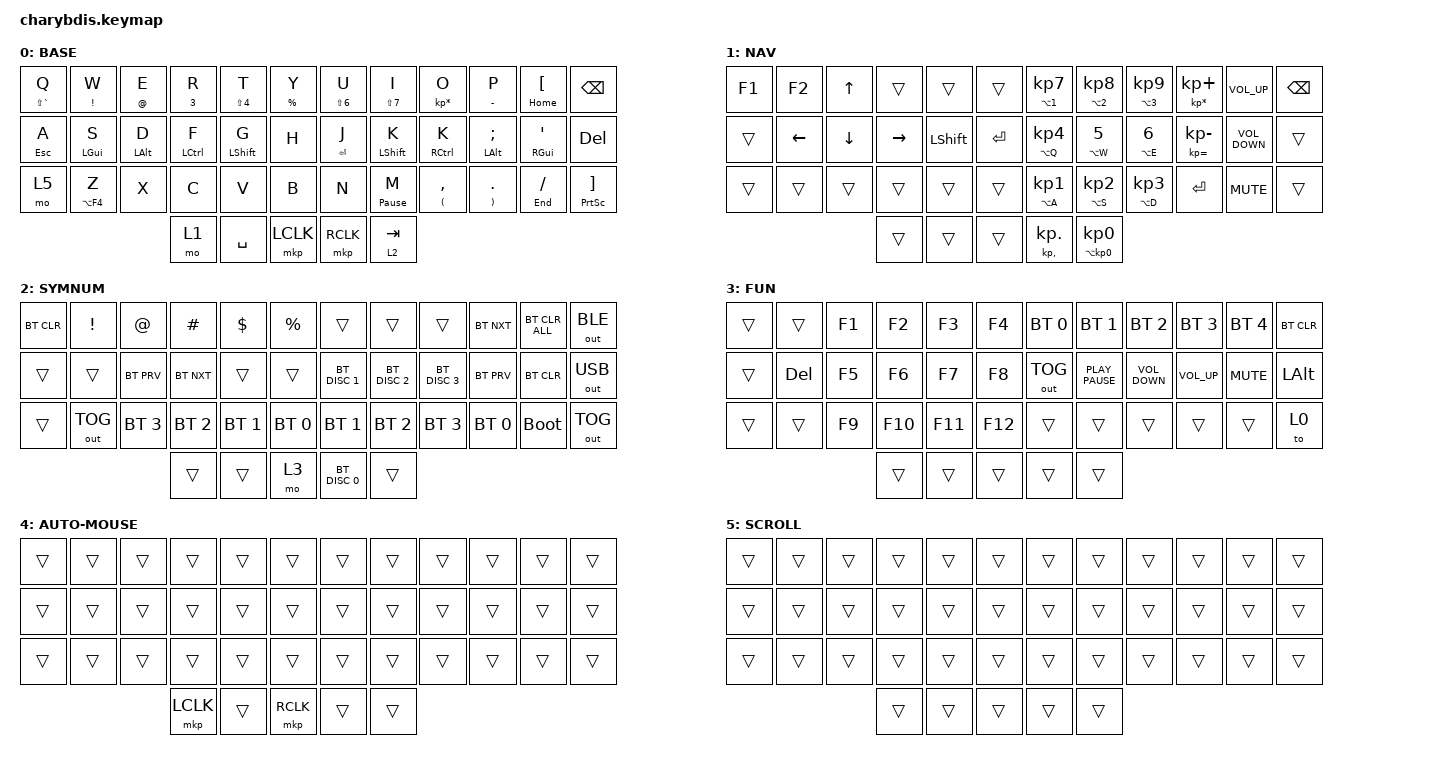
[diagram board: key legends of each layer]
#include <behaviors/mouse_keys.dtsi>
#include <dt-bindings/zmk/mouse.h>
#include <behaviors.dtsi>
#include <dt-bindings/zmk/bt.h>
#include <dt-bindings/zmk/keys.h>
#include <dt-bindings/zmk/outputs.h>

#define U_TAPPING_TERM 200

/ {
    chosen { zmk,matrix_transform = &default_transform; };
};

/ {
    combos {
        compatible = "zmk,combos";

        LeftClickRight {
            bindings = <&mkp LCLK>;
            key-positions = <19 20>;
        };

        RightClickRight {
            bindings = <&mkp RCLK>;
            key-positions = <20 21>;
        };

        MiddleClickRight {
            bindings = <&mkp MCLK>;
            key-positions = <21 22>;
        };

        ParaLeft {
            bindings = <&kp LEFT_PARENTHESIS>;
            key-positions = <4 16>;
        };

        ParaRight {
            bindings = <&kp RIGHT_PARENTHESIS>;
            key-positions = <7 19>;
        };

        BrakLeft {
            bindings = <&kp LEFT_BRACKET>;
            key-positions = <3 15>;
        };

        BrakRight {
            bindings = <&kp RIGHT_BRACKET>;
            key-positions = <8 20>;
        };

        BraceLeft {
            bindings = <&kp LEFT_BRACE>;
            key-positions = <2 14>;
        };

        BraceRight {
            bindings = <&kp RIGHT_BRACE>;
            key-positions = <9 21>;
        };

        Delete {
            bindings = <&kp DELETE>;
            key-positions = <8 9>;
        };

        CapsWord {
            bindings = <&caps_word>;
            key-positions = <17 18>;
        };
    };

    behaviors {
        u_mt: u_mt {
            compatible = "zmk,behavior-hold-tap";
            label = "u_mt";
            #binding-cells = <2>;
            tapping_term_ms = <U_TAPPING_TERM>;
            flavor = "tap-preferred";
            bindings = <&kp>, <&kp>;
        };

        u_lt: u_lt {
            compatible = "zmk,behavior-hold-tap";
            label = "u_lt";
            #binding-cells = <2>;
            tapping_term_ms = <U_TAPPING_TERM>;
            flavor = "tap-preferred";
            bindings = <&mo>, <&kp>;
        };

        Shift_Enter: Shift_Enter {
            compatible = "zmk,behavior-hold-tap";
            label = "SHIFT_ENTER";
            bindings = <&kp>, <&kp>;

            #binding-cells = <2>;
            hold-trigger-key-positions = <40>;
            tapping-term-ms = <100>;
        };
    };

    keymap {
        compatible = "zmk,keymap";

        BASE {
            bindings = <
&u_mt LS(GRAVE) Q  &u_mt EXCL W      &u_mt AT E        &u_mt NUMBER_3 R  &u_mt LS(NUMBER_4) T  &u_mt PERCENT Y    &u_mt LS(NUMBER_6) U  &u_mt LS(N7) I       &u_mt KP_ASTERISK O           &u_mt MINUS P                &u_mt HOME LEFT_BRACKET     &kp BSPC
&u_mt ESCAPE A     &u_mt LEFT_GUI S  &u_mt LEFT_ALT D  &u_mt LCTRL F     &u_mt LEFT_SHIFT G    &kp H              &u_mt ENTER J         &u_mt LEFT_SHIFT K   &u_mt RCTRL K                 &u_mt LEFT_ALT SEMICOLON     &u_mt RIGHT_GUI APOSTROPHE  &kp DELETE
&mo 5              &u_mt LA(F4) Z    &kp X             &kp C             &kp V                 &kp B              &kp N                 &u_mt PAUSE_BREAK M  &u_mt LEFT_PARENTHESIS COMMA  &u_mt RIGHT_PARENTHESIS DOT  &u_mt END FSLH              &u_mt PRINTSCREEN RIGHT_BRACKET
                                                       &mo 1             &kp SPACE             &mkp LCLK          &mkp RCLK             &u_lt 2 TAB
            >;
        };

        NAV {
            bindings = <
&kp F1  &kp F2    &kp UP    &trans     &trans          &trans       &u_mt LA(NUMBER_1) KP_NUMBER_7  &u_mt LA(NUMBER_2) KP_NUMBER_8     &u_mt LA(NUMBER_3) KP_NUMBER_9  &u_mt KP_MULTIPLY KP_PLUS  &kp C_VOLUME_UP    &kp BACKSPACE
&trans  &kp LEFT  &kp DOWN  &kp RIGHT  &kp LEFT_SHIFT  &kp ENTER    &u_mt LA(Q) KP_NUMBER_4         &u_mt LA(W) N5                     &u_mt LA(E) N6                  &u_mt KP_EQUAL KP_MINUS    &kp C_VOLUME_DOWN  &trans
&trans  &trans    &trans    &trans     &trans          &trans       &u_mt LA(A) KP_NUMBER_1         &u_mt LA(S) KP_NUMBER_2            &u_mt LA(D) KP_NUMBER_3         &kp ENTER                  &kp C_MUTE         &trans
                            &trans     &trans          &trans       &u_mt KP_COMMA KP_DOT           &u_mt LA(KP_NUMBER_0) KP_NUMBER_0
            >;
        };

        SYMNUM {
            bindings = <
&bt BT_CLR  &kp EXCL      &kp AT        &kp HASH      &kp DLLR      &kp PRCNT       &trans         &trans         &trans         &bt BT_NXT    &bt BT_CLR_ALL  &out OUT_BLE
&trans      &trans        &bt BT_PRV    &bt BT_NXT    &trans        &trans          &bt BT_DISC 1  &bt BT_DISC 2  &bt BT_DISC 3  &bt BT_PRV    &bt BT_CLR      &out OUT_USB
&trans      &out OUT_TOG  &bt BT_SEL 3  &bt BT_SEL 2  &bt BT_SEL 1  &bt BT_SEL 0    &bt BT_SEL 1   &bt BT_SEL 2   &bt BT_SEL 3   &bt BT_SEL 0  &bootloader     &out OUT_TOG
                                        &trans        &trans        &mo 3           &bt BT_DISC 0  &trans
            >;
        };

        FUN {
            bindings = <
&trans  &trans   &kp F1  &kp F2   &kp F3   &kp F4     &bt BT_SEL 0  &bt BT_SEL 1      &bt BT_SEL 2       &bt BT_SEL 3     &bt BT_SEL 4  &bt BT_CLR
&trans  &kp DEL  &kp F5  &kp F6   &kp F7   &kp F8     &out OUT_TOG  &kp K_PLAY_PAUSE  &kp C_VOLUME_DOWN  &kp C_VOLUME_UP  &kp C_MUTE    &kp LALT
&trans  &trans   &kp F9  &kp F10  &kp F11  &kp F12    &trans        &trans            &trans             &trans           &trans        &to 0
                         &trans   &trans   &trans     &trans        &trans
            >;
        };

        AUTO-MOUSE {
            bindings = <
&trans  &trans  &trans  &trans     &trans  &trans       &trans  &trans  &trans  &trans  &trans  &trans
&trans  &trans  &trans  &trans     &trans  &trans       &trans  &trans  &trans  &trans  &trans  &trans
&trans  &trans  &trans  &trans     &trans  &trans       &trans  &trans  &trans  &trans  &trans  &trans
                        &mkp LCLK  &trans  &mkp RCLK    &trans  &trans
            >;
        };

        SCROLL {
            bindings = <
&trans  &trans  &trans  &trans  &trans  &trans    &trans  &trans  &trans  &trans  &trans  &trans
&trans  &trans  &trans  &trans  &trans  &trans    &trans  &trans  &trans  &trans  &trans  &trans
&trans  &trans  &trans  &trans  &trans  &trans    &trans  &trans  &trans  &trans  &trans  &trans
                        &trans  &trans  &trans    &trans  &trans
            >;
        };
    };
};
